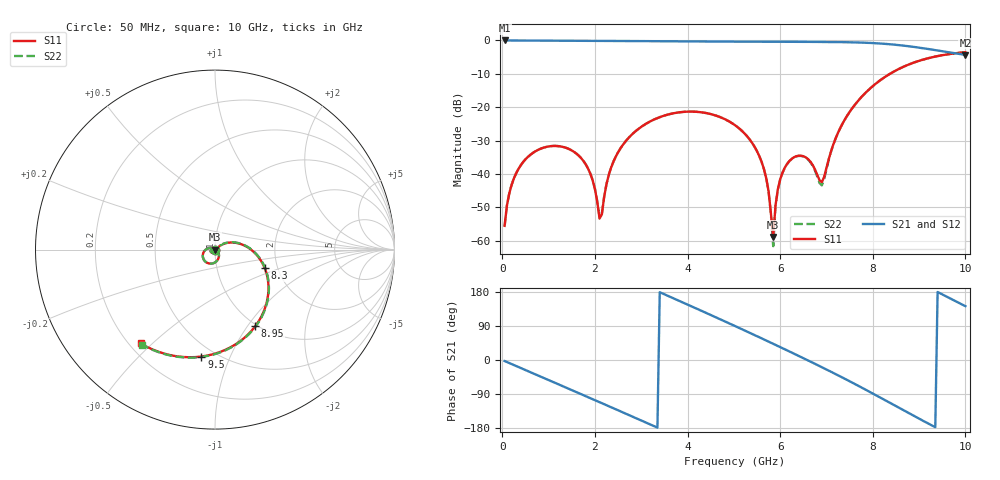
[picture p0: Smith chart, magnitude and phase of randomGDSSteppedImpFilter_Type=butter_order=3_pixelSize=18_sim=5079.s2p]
! freq	dB(S11)	phase(S11)	dB(S12)	phase(S12)
!  dB(S21)	phase(S21)	dB(S22)	phase(S22)
!S-par simulation data
#  GHz  S  DB  R 50
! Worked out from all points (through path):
!   200 points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, 50 MHz to 10 GHz, reference 50 ohm
!   highest |S21| = -0.01 dB at 50 MHz (marker M1); lowest = -4.3 dB at 10 GHz (marker M2)
!   group delay of S21, straight-line fit = 160 ps
!   lowest |S11| = -58.8 dB at 5.85 GHz (marker M3), VSWR 1.00, Z = 50.1 + j0.0484 ohm
!   |S11| at or under -10 dB: start of sweep to 8.371 GHz
!   |S22| runs from -61.6 to -3.5 dB; largest |S21 - S12| = 0
!   S11 on the Smith chart (normalised r, x): 50 MHz: 1.00, -0.00; 8.3 GHz: 1.71, -0.38; 8.95 GHz: 0.98, -1.09; 9.5 GHz: 0.42, -0.79; 10 GHz: 0.24, -0.46
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0.05  -55.54 -88.9  -0.01 -2.7  -0.01 -2.7  -55.54 -88.9
0.25  -41.34 -100.8  -0.02 -13.3  -0.02 -13.3  -41.34 -100.8
0.6  -34.33 -121.3  -0.04 -31.8  -0.04 -31.8  -34.32 -121.3
1.75  -36.07 171.3  -0.11 -92.6  -0.11 -92.6  -36.06 171.0
2.1  -53.37 94.0  -0.13 -111.3  -0.13 -111.3  -52.88 93.4
2.5  -33.51 -37.4  -0.16 -132.7  -0.16 -132.7  -33.51 -36.9
3.4  -22.98 -89.3  -0.25 178.9  -0.25 178.9  -22.98 -89.1
4.3  -21.52 -138.2  -0.32 129.9  -0.32 129.9  -21.53 -138.0
5.05  -25.64 -179.3  -0.35 88.3  -0.35 88.3  -25.64 -179.0
5.65  -38.54 144.5  -0.37 54.3  -0.37 54.3  -38.53 146.0
5.75  -45.18 133.5  -0.37 48.5  -0.37 48.5  -45.19 137.0
5.85  -58.84 25.0  -0.38 42.8  -0.38 42.8  -61.63 19.7
5.95  -44.58 -37.3  -0.38 37.0  -0.38 37.0  -44.74 -40.7
6.1  -38.11 -50.1  -0.39 28.3  -0.39 28.3  -38.18 -51.9
6.7  -37.27 -69.4  -0.43 -7.0  -0.43 -7.0  -37.49 -71.8
6.9  -42.43 -16.9  -0.45 -19.0  -0.45 -19.0  -43.41 -15.9
7.4  -23.61 31.6  -0.52 -49.8  -0.52 -49.8  -23.62 32.8
8.3  -10.61 -20.2  -1.06 -108.3  -1.06 -108.3  -10.61 -19.6
8.35  -10.18 -23.4  -1.12 -111.7  -1.12 -111.7  -10.17 -22.8
8.95  -6.33 -62.3  -2.06 -151.5  -2.06 -151.5  -6.33 -61.7
9.5  -4.43 -97.3  -3.23 173.1  -3.23 173.1  -4.42 -96.6
10  -3.52 -128.4  -4.33 142.1  -4.33 142.1  -3.51 -127.6
